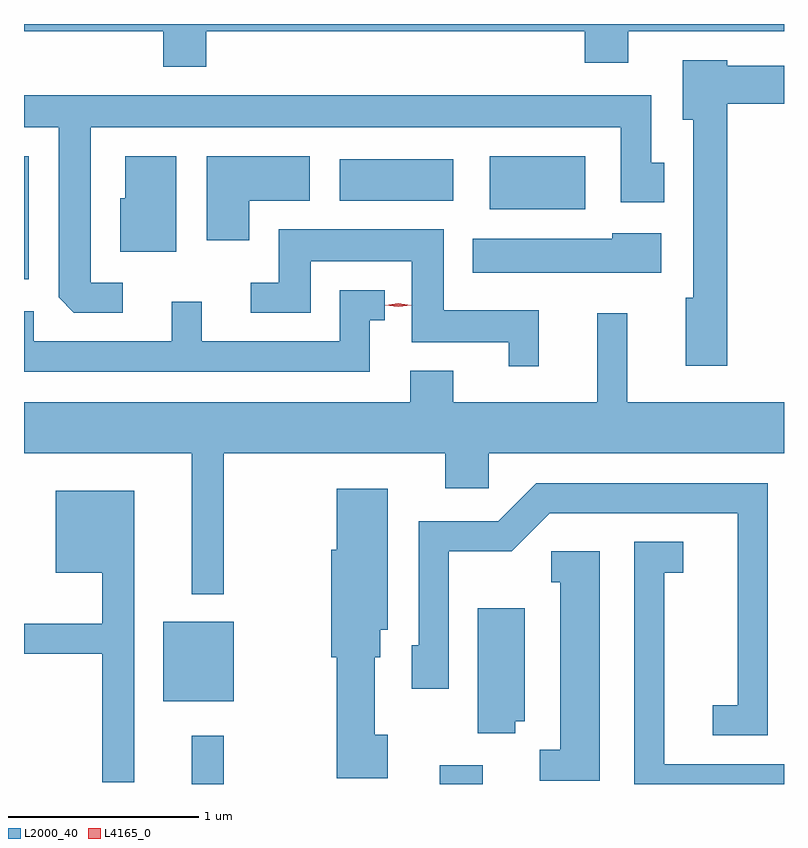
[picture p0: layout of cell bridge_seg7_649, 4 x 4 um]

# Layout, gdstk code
import gdstk
lib = gdstk.Library(unit=1e-6, precision=1e-09)
def R(c, l, rs):  # rectangles x0, y0, x1, y1
    for r in rs: c.add(gdstk.rectangle(r[:2], r[2:], *l))
def P(c, l, *ps):  # polygons
    for p in ps: c.add(gdstk.Polygon(p, *l))
L2000_40 = (2000, 40)
L4165_0 = (4165, 0)

bridge_seg7_649 = lib.new_cell('bridge_seg7_649')
R(bridge_seg7_649, L2000_40, [(829.471,1708.135,829.639,1708.388), (830.776,1708.135,831.004,1708.234), (829.321,1708.571,829.694,1708.989), (828.589,1710.791,828.614,1711.439), (831.041,1711.161,831.544,1711.439), (830.251,1711.206,830.849,1711.424)])
P(bridge_seg7_649, L2000_40, [(829.549,1712.096),(831.541,1712.096),(831.541,1711.931),(831.769,1711.931),(831.769,1712.096),(832.589,1712.096),(832.589,1712.135),(828.589,1712.135),(828.589,1712.096),(829.321,1712.096),(829.321,1711.911),(829.549,1711.911)],
  [(832.289,1711.716),(832.589,1711.716),(832.589,1711.914),(832.289,1711.914),(832.289,1711.944),(832.056,1711.944),(832.056,1711.631),(832.111,1711.631),(832.111,1710.694),(832.071,1710.694),(832.071,1710.336),(832.289,1710.336)],
  [(829.108,1710.774),(828.939,1710.774),(828.939,1711.591),(831.731,1711.591),(831.731,1711.196),(831.959,1711.196),(831.959,1711.404),(831.889,1711.404),(831.889,1711.759),(828.589,1711.759),(828.589,1711.591),(828.771,1711.591),(828.771,1710.697),(828.852,1710.616),(829.108,1710.616)],
  [(829.389,1711.439),(829.121,1711.439),(829.121,1711.219),(829.096,1711.219),(829.096,1710.936),(829.389,1710.936)],
  [(829.774,1711.206),(830.094,1711.206),(830.094,1711.439),(829.551,1711.439),(829.551,1710.996),(829.774,1710.996)],
  [(831.299,1710.629),(830.799,1710.629),(830.799,1711.054),(829.931,1711.054),(829.931,1710.774),(829.783,1710.774),(829.783,1710.616),(830.099,1710.616),(830.099,1710.886),(830.631,1710.886),(830.631,1710.461),(831.141,1710.461),(831.141,1710.333),(831.299,1710.333)],
  [(831.944,1711.034),(831.686,1711.034),(831.686,1711.004),(830.951,1711.004),(830.951,1710.826),(831.944,1710.826)],
  [(830.409,1710.576),(830.488,1710.576),(830.488,1710.734),(830.251,1710.734),(830.251,1710.464),(829.524,1710.464),(829.524,1710.673),(829.366,1710.673),(829.366,1710.464),(828.639,1710.464),(828.639,1710.624),(828.589,1710.624),(828.589,1710.306),(830.409,1710.306)],
  [(829.639,1709.876),(830.806,1709.876),(830.806,1709.691),(831.034,1709.691),(831.034,1709.876),(832.589,1709.876),(832.589,1710.144),(831.764,1710.144),(831.764,1710.613),(831.606,1710.613),(831.606,1710.144),(830.849,1710.144),(830.849,1710.309),(830.621,1710.309),(830.621,1710.144),(828.589,1710.144),(828.589,1709.876),(829.471,1709.876),(829.471,1709.133),(829.639,1709.133)],
  [(832.504,1709.719),(831.284,1709.719),(831.084,1709.519),(830.666,1709.519),(830.666,1708.864),(830.631,1708.864),(830.631,1708.636),(830.824,1708.636),(830.824,1709.361),(831.157,1709.361),(831.357,1709.561),(832.346,1709.561),(832.346,1708.549),(832.213,1708.549),(832.213,1708.391),(832.504,1708.391)],
  [(830.504,1708.394),(830.434,1708.394),(830.434,1708.801),(830.464,1708.801),(830.464,1708.946),(830.504,1708.946),(830.504,1709.689),(830.236,1709.689),(830.236,1709.369),(830.206,1709.369),(830.206,1708.801),(830.236,1708.801),(830.236,1708.166),(830.504,1708.166)],
  [(829.169,1709.679),(828.756,1709.679),(828.756,1709.246),(829.001,1709.246),(829.001,1708.979),(828.589,1708.979),(828.589,1708.821),(829.001,1708.821),(829.001,1708.143),(829.169,1708.143)],
  [(832.589,1708.239),(831.959,1708.239),(831.959,1709.246),(832.058,1709.246),(832.058,1709.409),(831.801,1709.409),(831.801,1708.135),(832.589,1708.135)],
  [(831.619,1709.359),(831.363,1709.359),(831.363,1709.196),(831.411,1709.196),(831.411,1708.314),(831.303,1708.314),(831.303,1708.151),(831.619,1708.151)],
  [(831.174,1708.466),(831.224,1708.466),(831.224,1709.059),(830.976,1709.059),(830.976,1708.401),(831.174,1708.401)])
P(bridge_seg7_649, L4165_0, [(830.558,1710.646),(830.489,1710.654),(830.489,1710.655),(830.489,1710.655),(830.558,1710.665),(830.628,1710.656),(830.628,1710.656),(830.628,1710.655)])

lib.write_gds('bridge_seg7_649.gds')
